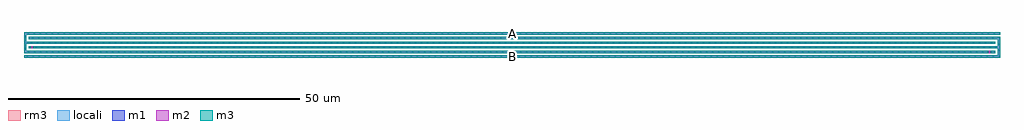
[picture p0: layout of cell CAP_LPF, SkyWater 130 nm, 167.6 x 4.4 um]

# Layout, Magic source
magic
tech sky130A
magscale 1 2
<< m1 >>
rect 120 -40 33640 40
rect 33560 40 33640 120
rect 120 120 33480 200
rect 33560 120 33640 200
rect 120 200 200 280
rect 33560 200 33640 280
rect 120 280 200 360
rect 280 280 33640 360
rect 120 360 200 440
rect 33560 360 33640 440
rect 120 440 33480 520
rect 33560 440 33640 520
rect 120 520 200 600
rect 33560 520 33640 600
rect 120 600 200 680
rect 280 600 33640 680
rect 120 680 200 760
rect 120 760 33640 840
<< m2 >>
rect 120 -40 33640 40
rect 33560 40 33640 120
rect 120 120 33480 200
rect 33560 120 33640 200
rect 120 200 200 280
rect 33560 200 33640 280
rect 120 280 200 360
rect 280 280 33640 360
rect 120 360 200 440
rect 33560 360 33640 440
rect 120 440 33480 520
rect 33560 440 33640 520
rect 120 520 200 600
rect 33560 520 33640 600
rect 120 600 200 680
rect 280 600 33640 680
rect 120 680 200 760
rect 120 760 33640 840
<< locali >>
rect 120 -40 33640 40
rect 33560 40 33640 120
rect 120 120 33480 200
rect 33560 120 33640 200
rect 120 200 200 280
rect 33560 200 33640 280
rect 120 280 200 360
rect 280 280 33640 360
rect 120 360 200 440
rect 33560 360 33640 440
rect 120 440 33480 520
rect 33560 440 33640 520
rect 120 520 200 600
rect 33560 520 33640 600
rect 120 600 200 680
rect 280 600 33640 680
rect 120 680 200 760
rect 120 760 33640 840
<< m3 >>
rect 120 -40 33640 40
rect 120 -40 33640 40
rect 33560 40 33640 120
rect 120 120 33240 200
rect 33320 120 33480 200
rect 33560 120 33640 200
rect 120 200 200 280
rect 33560 200 33640 280
rect 120 280 200 360
rect 280 280 360 360
rect 440 280 33640 360
rect 120 360 200 440
rect 33560 360 33640 440
rect 120 440 33480 520
rect 33560 440 33640 520
rect 120 520 200 600
rect 33560 520 33640 600
rect 120 600 200 680
rect 280 600 33640 680
rect 120 680 200 760
rect 120 760 33640 840
rect 120 760 33640 840
<< rm3 >>
rect 33240 120 33320 200
rect 360 280 440 360
<< labels >>
flabel m3 s 120 -40 33640 40 0 FreeSans 400 0 0 0 B
port 2 nsew
flabel m3 s 120 760 33640 840 0 FreeSans 400 0 0 0 A
port 1 nsew
<< end >>
